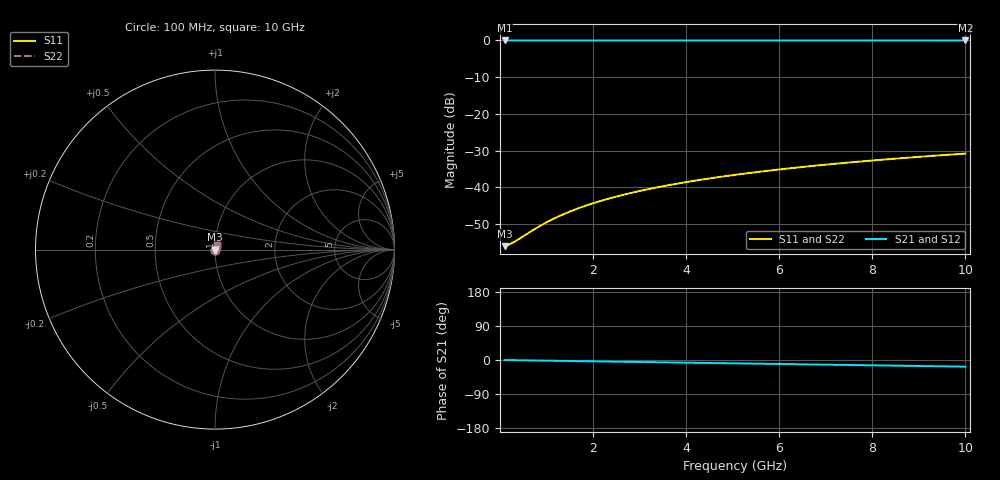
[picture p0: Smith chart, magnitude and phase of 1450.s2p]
# Hz S RI R 50.00
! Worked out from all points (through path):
!   100 points, 100 MHz to 10 GHz, reference 50 ohm
!   highest |S21| = -0.01 dB at 100 MHz (marker M1); lowest = 0.0 dB at 10 GHz (marker M2)
!   group delay of S21, straight-line fit = 4.89 ps
!   lowest |S11| = -56.0 dB at 100 MHz (marker M3), VSWR 1.00, Z = 50.2 + j0.029 ohm
!   |S11| at or under -10 dB: start of sweep to end of sweep
!   |S22| runs from -56.0 to -30.8 dB; largest |S21 - S12| = 0
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1e8  0.00156 0.000289  0.9984 -0.00306  0.9984 -0.00306  0.00156 0.000289
2e8  0.00157 0.000577  0.9984 -0.00611  0.9984 -0.00611  0.00157 0.000577
3e8  0.00158 0.000866  0.9984 -0.00917  0.9984 -0.00917  0.00158 0.000866
8e8  0.00165 0.00231  0.9981 -0.0244  0.9981 -0.0244  0.00165 0.00231
9e8  0.00167 0.0026  0.998 -0.0275  0.998 -0.0275  0.00167 0.0026
1.1e9  0.00171 0.00317  0.9978 -0.0336  0.9978 -0.0336  0.00171 0.00317
1.4e9  0.00178 0.00403  0.9974 -0.0428  0.9974 -0.0428  0.00178 0.00403
1.6e9  0.00183 0.00461  0.9971 -0.0489  0.9971 -0.0489  0.00183 0.00461
1.8e9  0.0019 0.00518  0.9968 -0.055  0.9968 -0.055  0.0019 0.00518
2.1e9  0.002 0.00604  0.9962 -0.0641  0.9962 -0.0641  0.002 0.00604
2.5e9  0.00217 0.00718  0.9954 -0.0763  0.9954 -0.0763  0.00217 0.00718
2.9e9  0.00236 0.00831  0.9943 -0.0885  0.9943 -0.0885  0.00236 0.00831
3.4e9  0.00264 0.00972  0.9928 -0.1038  0.9928 -0.1038  0.00264 0.00972
3.8e9  0.0029 0.0108  0.9915 -0.116  0.9915 -0.116  0.0029 0.0108
4.2e9  0.00318 0.012  0.9899 -0.1281  0.9899 -0.1281  0.00318 0.012
4.6e9  0.00349 0.0131  0.9883 -0.1403  0.9883 -0.1403  0.00349 0.0131
5.1e9  0.00392 0.0144  0.9859 -0.1554  0.9859 -0.1554  0.00392 0.0144
5.9e9  0.00469 0.0166  0.9818 -0.1796  0.9818 -0.1796  0.00469 0.0166
6.7e9  0.00556 0.0187  0.977 -0.2037  0.977 -0.2037  0.00556 0.0187
7.5e9  0.00654 0.0208  0.9716 -0.2277  0.9716 -0.2277  0.00654 0.0208
8.4e9  0.00777 0.0231  0.9648 -0.2546  0.9648 -0.2546  0.00777 0.0231
1e10  0.0103 0.0269  0.9509 -0.3019  0.9509 -0.3019  0.0103 0.0269
